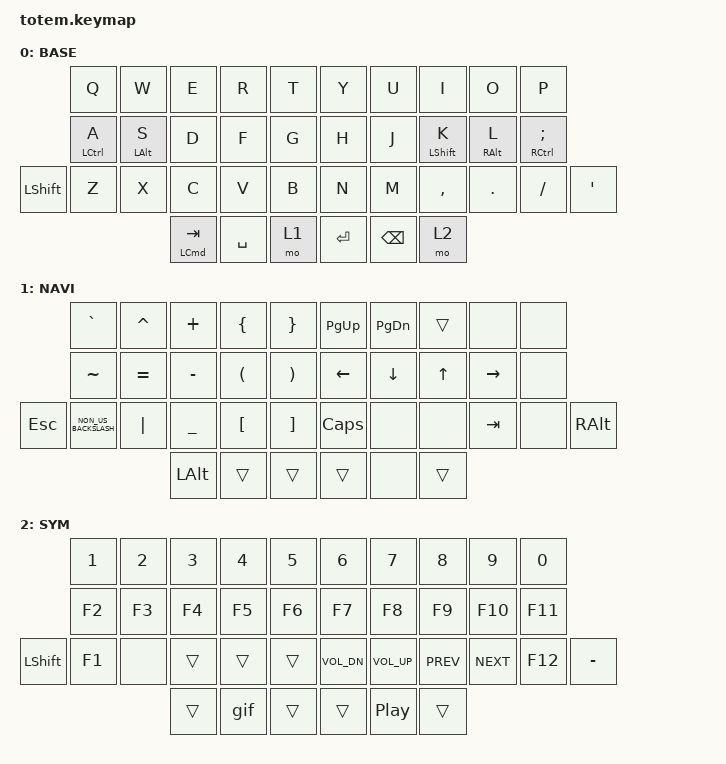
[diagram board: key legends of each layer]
//
//                                                        ▀▀▀▀▀     ▀▀▀▀▀          ▀▀█▀▀
//                                                        ▄▀▀▀▄  ▄  ▄▀▀▀▄  ▄  ▄▀▀▀▄  █  ▄▀▀▀▄
//                                                        █   █  █  █   █  █  █   █  █  █   █
//                                                         ▀▀▀   █   ▀▀▀   █   ▀▀▀   ▀   ▀▀▀
//                                                               █      ▄▄▄█▄▄▄    █   █  
//                                                               ▀      █  █  █     █▄█
//                                                             ▀▀▀▀▀    █  █  █      ▀
//                                                                      ▀  ▀  ▀
//
// ▄▄▄▄▄▄▄▄▄▄▄▄▄▄▄▄▄▄▄▄▄▄▄▄▄▄▄▄▄▄▄▄▄▄▄▄▄▄▄▄▄▄▄▄▄▄▄▄▄▄▄▄▄▄▄▄▄▄▄▄▄▄▄▄▄▄▄▄▄▄▄▄▄▄▄▄▄▄▄▄▄▄▄▄▄▄▄▄▄▄▄▄▄▄▄▄▄▄▄▄▄▄▄▄▄▄▄▄▄▄▄▄▄▄▄▄▄▄▄▄▄▄▄▄▄▄▄▄▄▄▄▄▄▄▄▄▄▄▄▄▄▄▄▄▄▄▄▄▄

#include <behaviors.dtsi>
#include <dt-bindings/zmk/bt.h>
#include <dt-bindings/zmk/keys.h>
#include <dt-bindings/zmk/keys.h>

#define BASE 0
#define NAV  1
#define SYM  2
#define ADJ  3
#define TVP1 4
#define TVP2 5

&mt {
    quick-tap-ms = <100>;
    global-quick-tap;
    flavor = "tap-preferred";
    tapping-term-ms = <170>;
};

/ {
    combos {
        compatible = "zmk,combos";

        combo_esc {
            timeout-ms = <50>;
            key-positions = <0 1>;
            bindings = <&kp ESC>;
        };

        Copy {
            bindings = <&kp LG(C)>;
            key-positions = <22 23>;
        };

        Paste {
            bindings = <&kp LG(V)>;
            key-positions = <23 24>;
        };

        Cut {
            bindings = <&kt LG(X)>;
            key-positions = <22 24>;
        };

        HardResetLeft {
            bindings = <&bootloader>;
            key-positions = <1 3>;
        };

        HardResetRight {
            bindings = <&bootloader>;
            key-positions = <6 8>;
        };

        clearAllProfiles {
            bindings = <&bt BT_CLR_ALL>;
            key-positions = <22 3 2>;
        };
    };

    macros {
        gif: gif {
            label = "giphy";
            compatible = "zmk,behavior-macro";
            #binding-cells = <0>;
            bindings =
                <&macro_press>,
                <&kp LSHFT>,
                <&macro_tap>,
                <&kp N2>,
                <&macro_release>,
                <&kp LSHFT>,
                <&macro_tap>,
                <&kp G &kp I &kp F>;
        };
    };

    keymap {
        compatible = "zmk,keymap";

        // ▄▄▄▄▄▄▄▄▄▄▄▄▄▄▄▄▄▄▄▄▄▄▄▄▄▄▄▄▄▄▄▄▄▄▄▄▄▄▄▄▄▄▄▄▄▄▄▄▄▄▄▄▄▄▄▄▄▄▄▄▄▄▄▄▄▄▄▄▄▄▄▄▄▄▄▄▄▄▄▄▄▄▄▄▄▄▄▄▄▄▄▄▄▄▄▄▄▄▄▄▄▄▄▄▄▄▄▄▄▄▄▄▄▄▄▄▄▄▄▄▄▄▄▄▄▄▄▄▄▄▄▄▄▄▄▄▄▄▄▄▄▄▄▄▄▄▄▄▄

        base_layer {
            // ┏━━━━━━━━━━━━━━━━━━━━━━━━━━━━━━━━━━━━━━━┓

            label = "BASE";

            // ┗━━━━━━━━━━━━━━━━━━━━━━━━━━━━━━━━━━━━━━━┛
            //             ┏━━━━━━━━━━━┳━━━━━━━━━━━┳━━━━━━━━━━━┳━━━━━━━━━━━┳━━━━━━━━━━━┓   ┏━━━━━━━━━━━┳━━━━━━━━━━━┳━━━━━━━━━━━┳━━━━━━━━━━━┳━━━━━━━━━━━┓
            //             ┃     Q     ┃     W     ┃     F     ┃     P     ┃     G     ┃   ┃     J     ┃     L     ┃     U     ┃     Y     ┃     ;     ┃
            //             ┣━━━━━━━━━━━╋━━━━━━━━━━━╋━━━━━━━━━━━╋━━━━━━━━━━━╋━━━━━━━━━━━┫   ┣━━━━━━━━━━━╋━━━━━━━━━━━╋━━━━━━━━━━━╋━━━━━━━━━━━╋━━━━━━━━━━━┫
            //             ┃     A     ┃     R     ┃     S     ┃     T     ┃     D     ┃   ┃     H     ┃     N     ┃     E     ┃     I     ┃     O     ┃
            // ┏━━━━━━━━━━━╋━━━━━━━━━━━╋━━━━━━━━━━━╋━━━━━━━━━━━╋━━━━━━━━━━━╋━━━━━━━━━━━┫   ┣━━━━━━━━━━━╋━━━━━━━━━━━╋━━━━━━━━━━━╋━━━━━━━━━━━╋━━━━━━━━━━━╋━━━━━━━━━━━┓
            // ┃     Q     ┃     Z     ┃     X     ┃     C     ┃     V     ┃     B     ┃   ┃     K     ┃     M     ┃     ,     ┃     .     ┃     /     ┃     \     ┃
            // ┗━━━━━━━━━━━┻━━━━━━━━━━━┻━━━━━━━━━━━╋━━━━━━━━━━━╋━━━━━━━━━━━╋━━━━━━━━━━━┫   ┣━━━━━━━━━━━╋━━━━━━━━━━━╋━━━━━━━━━━━╋━━━━━━━━━━━┻━━━━━━━━━━━┻━━━━━━━━━━━┛
            //                                     ┃    DEL    ┃    TAB    ┃    SPC    ┃   ┃   ENTER   ┃           ┃   BSPC    ┃
            //                                     ┗━━━━━━━━━━━┻━━━━━━━━━━━┻━━━━━━━━━━━┛   ┗━━━━━━━━━━━┻━━━━━━━━━━━┻━━━━━━━━━━━┛

            bindings = <
                &kp Q        &kp W           &kp E                 &kp R      &kp T    &kp Y      &kp U          &kp I             &kp O            &kp P
                &mt LCTRL A  &mt LEFT_ALT S  &kp D                 &kp F      &kp G    &kp H      &kp J          &mt LEFT_SHIFT K  &mt RIGHT_ALT L  &mt RCTRL SEMICOLON
&kp LEFT_SHIFT  &kp Z        &kp X           &kp C                 &kp V      &kp B    &kp N      &kp M          &kp COMMA         &kp DOT          &kp FSLH             &kp SQT
                                             &mt LEFT_COMMAND TAB  &kp SPACE  &mo 1    &kp ENTER  &kp BACKSPACE  &mo 2
            >;
        };

        // ▄▄▄▄▄▄▄▄▄▄▄▄▄▄▄▄▄▄▄▄▄▄▄▄▄▄▄▄▄▄▄▄▄▄▄▄▄▄▄▄▄▄▄▄▄▄▄▄▄▄▄▄▄▄▄▄▄▄▄▄▄▄▄▄▄▄▄▄▄▄▄▄▄▄▄▄▄▄▄▄▄▄▄▄▄▄▄▄▄▄▄▄▄▄▄▄▄▄▄▄▄▄▄▄▄▄▄▄▄▄▄▄▄▄▄▄▄▄▄▄▄▄▄▄▄▄▄▄▄▄▄▄▄▄▄▄▄▄▄▄▄▄▄▄▄▄▄▄▄

        nav_layer {
            // ┏━━━━━━━━━━━━━━━━━━━━━━━━━━━━━━━━━━━━━━━┓

            label = "NAVI";

            // ┗━━━━━━━━━━━━━━━━━━━━━━━━━━━━━━━━━━━━━━━┛
            //             ┏━━━━━━━━━━━┳━━━━━━━━━━━┳━━━━━━━━━━━┳━━━━━━━━━━━┳━━━━━━━━━━━┓   ┏━━━━━━━━━━━┳━━━━━━━━━━━┳━━━━━━━━━━━┳━━━━━━━━━━━┳━━━━━━━━━━━┓
            //             ┃           ┃           ┃     UP    ┃           ┃     {     ┃   ┃     }     ┃     7     ┃     8     ┃     9     ┃     +     ┃
            //             ┣━━━━━━━━━━━╋━━━━━━━━━━━╋━━━━━━━━━━━╋━━━━━━━━━━━╋━━━━━━━━━━━┫   ┣━━━━━━━━━━━╋━━━━━━━━━━━╋━━━━━━━━━━━╋━━━━━━━━━━━╋━━━━━━━━━━━┫
            //             ┃   SHIFT   ┃   LEFT    ┃    DOWN   ┃   RIGHT   ┃     [     ┃   ┃     ]     ┃     4     ┃     5     ┃     6     ┃     -     ┃
            // ┏━━━━━━━━━━━╋━━━━━━━━━━━╋━━━━━━━━━━━╋━━━━━━━━━━━╋━━━━━━━━━━━╋━━━━━━━━━━━┫   ┣━━━━━━━━━━━╋━━━━━━━━━━━╋━━━━━━━━━━━╋━━━━━━━━━━━╋━━━━━━━━━━━╋━━━━━━━━━━━┓
            // ┃           ┃           ┃   P UP    ┃  C LOCK   ┃  P DOWN   ┃     (     ┃   ┃     )     ┃     1     ┃     2     ┃     3     ┃     *     ┃           ┃
            // ┗━━━━━━━━━━━┻━━━━━━━━━━━┻━━━━━━━━━━━╋━━━━━━━━━━━╋━━━━━━━━━━━╋━━━━━━━━━━━┫   ┣━━━━━━━━━━━╋━━━━━━━━━━━╋━━━━━━━━━━━╋━━━━━━━━━━━┻━━━━━━━━━━━┻━━━━━━━━━━━┛
            //                                     ┃           ┃    TAB    ┃    SPC    ┃   ┃    DEL    ┃     0     ┃           ┃
            //                                     ┗━━━━━━━━━━━┻━━━━━━━━━━━┻━━━━━━━━━━━┛   ┗━━━━━━━━━━━┻━━━━━━━━━━━┻━━━━━━━━━━━┛

            bindings = <
            &kp GRAVE             &kp CARET  &kp PLUS        &kp LEFT_BRACE        &kp RIGHT_BRACE          &kp PAGE_UP   &kp PAGE_DOWN  &trans        &none            &none
            &kp TILDE             &kp EQUAL  &kp MINUS       &kp LEFT_PARENTHESIS  &kp RIGHT_PARENTHESIS    &kp LEFT      &kp DOWN       &kp UP_ARROW  &kp RIGHT_ARROW  &none
&kp ESCAPE  &kp NON_US_BACKSLASH  &kp PIPE   &kp UNDERSCORE  &kp LEFT_BRACKET      &kp RIGHT_BRACKET        &kp CAPSLOCK  &none          &none         &kp TAB          &none  &kp RIGHT_ALT
                                             &kp LEFT_ALT    &trans                &trans                   &trans        &none          &trans
            >;
        };

        // ▄▄▄▄▄▄▄▄▄▄▄▄▄▄▄▄▄▄▄▄▄▄▄▄▄▄▄▄▄▄▄▄▄▄▄▄▄▄▄▄▄▄▄▄▄▄▄▄▄▄▄▄▄▄▄▄▄▄▄▄▄▄▄▄▄▄▄▄▄▄▄▄▄▄▄▄▄▄▄▄▄▄▄▄▄▄▄▄▄▄▄▄▄▄▄▄▄▄▄▄▄▄▄▄▄▄▄▄▄▄▄▄▄▄▄▄▄▄▄▄▄▄▄▄▄▄▄▄▄▄▄▄▄▄▄▄▄▄▄▄▄▄▄▄▄▄▄▄▄

        sim_layer {
            // ┏━━━━━━━━━━━━━━━━━━━━━━━━━━━━━━━━━━━━━━━┓

            label = "SYM";

            // ┗━━━━━━━━━━━━━━━━━━━━━━━━━━━━━━━━━━━━━━━┛
            //             ┏━━━━━━━━━━━┳━━━━━━━━━━━┳━━━━━━━━━━━┳━━━━━━━━━━━┳━━━━━━━━━━━┓   ┏━━━━━━━━━━━┳━━━━━━━━━━━┳━━━━━━━━━━━┳━━━━━━━━━━━┳━━━━━━━━━━━┓
            //             ┃     !     ┃     @     ┃     #     ┃     $     ┃     %     ┃   ┃     ˆ     ┃     &     ┃     Ü     ┃     '     ┃     "     ┃
            //             ┣━━━━━━━━━━━╋━━━━━━━━━━━╋━━━━━━━━━━━╋━━━━━━━━━━━╋━━━━━━━━━━━┫   ┣━━━━━━━━━━━╋━━━━━━━━━━━╋━━━━━━━━━━━╋━━━━━━━━━━━╋━━━━━━━━━━━┫
            //             ┃     Ä     ┃           ┃    SZ     ┃           ┃           ┃   ┃   MUTE    ┃   YEN     ┃   EURO    ┃  POUND    ┃     Ö     ┃
            // ┏━━━━━━━━━━━╋━━━━━━━━━━━╋━━━━━━━━━━━╋━━━━━━━━━━━╋━━━━━━━━━━━╋━━━━━━━━━━━┫   ┣━━━━━━━━━━━╋━━━━━━━━━━━╋━━━━━━━━━━━╋━━━━━━━━━━━╋━━━━━━━━━━━╋━━━━━━━━━━━┓
            // ┃           ┃  EMAIL1   ┃  EMAIL2   ┃           ┃           ┃           ┃   ┃   VOL-    ┃   VOL+    ┃   LAST    ┃   NEXT    ┃     \     ┃           ┃
            // ┗━━━━━━━━━━━┻━━━━━━━━━━━┻━━━━━━━━━━━╋━━━━━━━━━━━╋━━━━━━━━━━━╋━━━━━━━━━━━┫   ┣━━━━━━━━━━━╋━━━━━━━━━━━╋━━━━━━━━━━━╋━━━━━━━━━━━┻━━━━━━━━━━━┻━━━━━━━━━━━┛
            //                                     ┃           ┃    GIF    ┃    ADJ    ┃   ┃           ┃           ┃           ┃
            //                                     ┗━━━━━━━━━━━┻━━━━━━━━━━━┻━━━━━━━━━━━┛   ┗━━━━━━━━━━━┻━━━━━━━━━━━┻━━━━━━━━━━━┛

            bindings = <
                &kp NUMBER_1  &kp NUMBER_2  &kp NUMBER_3  &kp NUMBER_4  &kp N5    &kp NUMBER_6  &kp N7        &kp N8      &kp N9      &kp N0
                &kp F2        &kp F3        &kp F4        &kp F5        &kp F6    &kp F7        &kp F8        &kp F9      &kp F10     &kp F11
&kp LEFT_SHIFT  &kp F1        &none         &trans        &trans        &trans    &kp C_VOL_DN  &kp C_VOL_UP  &kp C_PREV  &kp C_NEXT  &kp F12  &kp MINUS
                                            &trans        &gif          &trans    &trans        &kp C_PP      &trans
            >;
        };

        // ▄▄▄▄▄▄▄▄▄▄▄▄▄▄▄▄▄▄▄▄▄▄▄▄▄▄▄▄▄▄▄▄▄▄▄▄▄▄▄▄▄▄▄▄▄▄▄▄▄▄▄▄▄▄▄▄▄▄▄▄▄▄▄▄▄▄▄▄▄▄▄▄▄▄▄▄▄▄▄▄▄▄▄▄▄▄▄▄▄▄▄▄▄▄▄▄▄▄▄▄▄▄▄▄▄▄▄▄▄▄▄▄▄▄▄▄▄▄▄▄▄▄▄▄▄▄▄▄▄▄▄▄▄▄▄▄▄▄▄▄▄▄▄▄▄▄▄▄▄
        // ▄▄▄▄▄▄▄▄▄▄▄▄▄▄▄▄▄▄▄▄▄▄▄▄▄▄▄▄▄▄▄▄▄▄▄▄▄▄▄▄▄▄▄▄▄▄▄▄▄▄▄▄▄▄▄▄▄▄▄▄▄▄▄▄▄▄▄▄▄▄▄▄▄▄▄▄▄▄▄▄▄▄▄▄▄▄▄▄▄▄▄▄▄▄▄▄▄▄▄▄▄▄▄▄▄▄▄▄▄▄▄▄▄▄▄▄▄▄▄▄▄▄▄▄▄▄▄▄▄▄▄▄▄▄▄▄▄▄▄▄▄▄▄▄▄▄▄▄▄
        // ▄▄▄▄▄▄▄▄▄▄▄▄▄▄▄▄▄▄▄▄▄▄▄▄▄▄▄▄▄▄▄▄▄▄▄▄▄▄▄▄▄▄▄▄▄▄▄▄▄▄▄▄▄▄▄▄▄▄▄▄▄▄▄▄▄▄▄▄▄▄▄▄▄▄▄▄▄▄▄▄▄▄▄▄▄▄▄▄▄▄▄▄▄▄▄▄▄▄▄▄▄▄▄▄▄▄▄▄▄▄▄▄▄▄▄▄▄▄▄▄▄▄▄▄▄▄▄▄▄▄▄▄▄▄▄▄▄▄▄▄▄▄▄▄▄▄▄▄▄
    };
};
